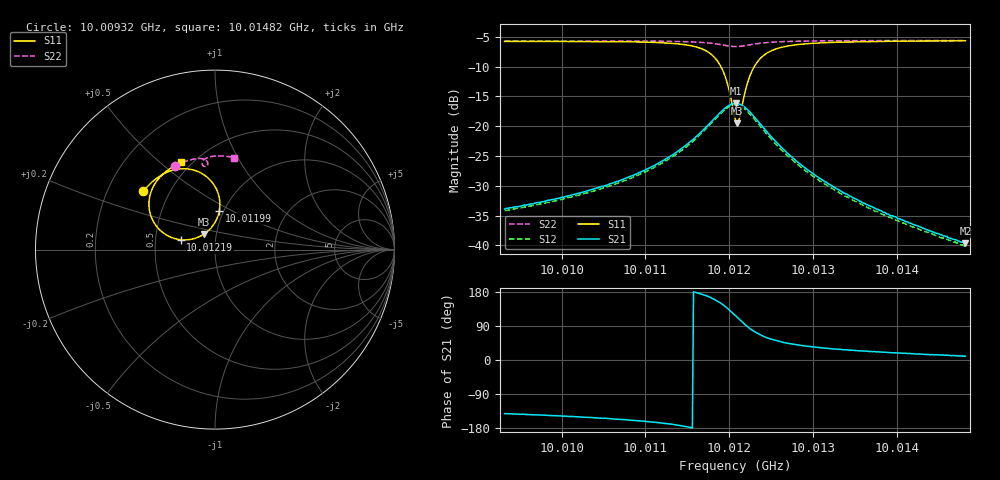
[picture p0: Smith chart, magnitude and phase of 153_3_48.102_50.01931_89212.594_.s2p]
#  HZ  S  RI  R  50.00
! Rohde & Schwarz Vector Network Analyzer
! Rohde-Schwarz,ZNB20-2Port,1311601062101988,3.16
! Created: UTC 12/23/2023, 3:50:00 AM
! freq[Hz]  re:S11  im:S11  re:S21  im:S21  re:S12  im:S12  re:S22  im:S22
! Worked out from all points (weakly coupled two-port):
!   401 points, 10.00932 GHz to 10.01482 GHz, reference 50 ohm
!   highest |S21| = -16.17 dB at 10.01208 GHz (marker M1); lowest = -39.6 dB at 10.01482 GHz (marker M2)
!   lowest |S11| = -19.5 dB at 10.0121 GHz (marker M3), VSWR 1.24, Z = 43.6 + j7.65 ohm
!   |S11| at or under -10 dB: 10.0119 GHz to 10.0123 GHz (398.1 kHz wide, 0.00398 % of centre)
!   |S22| runs from -6.6 to -5.6 dB; largest |S21 - S12| = 0.0079
!   S11 on the Smith chart (normalised r, x): 10.00932 GHz: 0.36, +0.31; 10.01199 GHz: 0.95, +0.43; 10.01219 GHz: 0.68, +0.08; 10.01482 GHz: 0.44, +0.59
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1.0009319e10  -0.3997 0.3239  -0.0158 -0.0126  -0.0148 -0.013  -0.2222 0.4675
1.0010241e10  -0.3449 0.3815  -0.0242 -0.0137  -0.0227 -0.0141  -0.1655 0.4915
1.0010708e10  -0.3047 0.4111  -0.0325 -0.0139  -0.0306 -0.015  -0.1346 0.5006
1.0011162e10  -0.2449 0.4395  -0.0477 -0.0127  -0.0453 -0.0141  -0.1017 0.5067
1.0011492e10  -0.1673 0.4506  -0.0699 -0.00473  -0.067 -0.00818  -0.0743 0.5068
1.0011739e10  -0.0638 0.4183  -0.0987 0.0199  -0.0965 0.0143  -0.0511 0.4982
1.001189e10  0.0126 0.3263  -0.1136 0.0627  -0.1137 0.0551  -0.0406 0.4834
1.0011945e10  0.0267 0.2677  -0.1119 0.0854  -0.1125 0.0787  -0.0403 0.4757
1.0011987e10  0.0241 0.2158  -0.1047 0.1045  -0.1065 0.0974  -0.0423 0.4703
1.0012069e10  -0.0294 0.1128  -0.0728 0.1374  -0.0762 0.1308  -0.0517 0.463
1.0012083e10  -0.0448 0.0987  -0.0655 0.141  -0.0689 0.1347  -0.0539 0.4626
1.0012097e10  -0.0609 0.0867  -0.0583 0.1437  -0.0618 0.1377  -0.0558 0.4626
1.0012124e10  -0.0971 0.0679  -0.0433 0.147  -0.0469 0.1413  -0.0601 0.4634
1.0012193e10  -0.1909 0.0549  -0.00627 0.143  -0.0105 0.1379  -0.0681 0.4696
1.0012234e10  -0.2407 0.0669  0.0117 0.1342  0.00703 0.1295  -0.0705 0.4749
1.0012289e10  -0.2918 0.0958  0.0285 0.1188  0.0233 0.1149  -0.0711 0.4825
1.0012427e10  -0.3558 0.1834  0.0458 0.0821  0.0404 0.0802  -0.0642 0.4979
1.0012674e10  -0.3643 0.2929  0.0434 0.0436  0.0393 0.0434  -0.0435 0.5119
1.001299e10  -0.3367 0.364  0.0332 0.0231  0.0304 0.0236  -0.0178 0.5186
1.0013389e10  -0.2994 0.4113  0.0242 0.0123  0.0224 0.0129  0.0116 0.5215
1.0013911e10  -0.2561 0.4479  0.017 0.00611  0.0158 0.0068  0.0477 0.5208
1.0014819e10  -0.1882 0.4859  0.0103 0.0018  0.0096 0.00227  0.1075 0.5131
